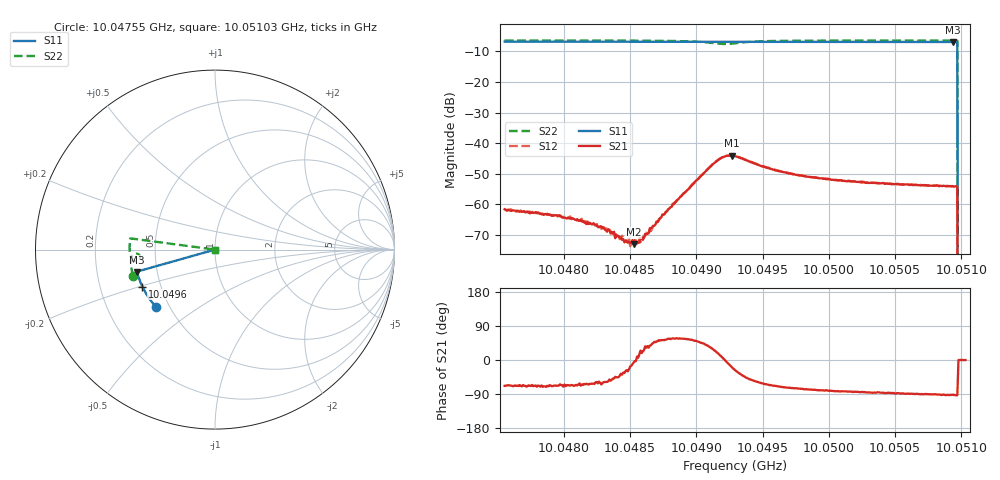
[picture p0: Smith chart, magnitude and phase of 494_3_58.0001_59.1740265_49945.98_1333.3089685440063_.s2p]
#  HZ  S  RI  R  50.00
! Rohde & Schwarz Vector Network Analyzer
! Rohde-Schwarz,ZNB20-2Port,1311601062101988,3.16
! Created: UTC 3/21/2024, 1:12:25 AM
! freq[Hz]  re:S11  im:S11  re:S21  im:S21  re:S12  im:S12  re:S22  im:S22
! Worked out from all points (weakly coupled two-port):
!   401 points, 10.04755 GHz to 10.05103 GHz, reference 50 ohm
!   highest |S21| = -44.08 dB at 10.04927 GHz (marker M1); lowest = -73.1 dB at 10.04853 GHz (marker M2)
!   lowest |S11| = -6.9 dB at 10.05093 GHz (marker M3), VSWR 2.65, Z = 19.2 - j6.03 ohm
!   |S11| at or under -10 dB: 10.05097 GHz to end of sweep
!   |S22| runs from - to -6.4 dB; largest |S21 - S12| = 0.00045
!   S11 on the Smith chart (normalised r, x): 10.04755 GHz: 0.42, -0.34; 10.0496 GHz: 0.39, -0.21; 10.05103 GHz: 1.00, +0.00
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1.0047554e10  -0.3298 -0.3181  0.000306 -0.000769  0.000364 -0.000735  -0.4557 -0.1467
1.0047954e10  -0.347 -0.2978  0.000248 -0.000602  0.000258 -0.000579  -0.4624 -0.1198
1.0048136e10  -0.3544 -0.2884  0.000225 -0.000471  0.000246 -0.000522  -0.4653 -0.1073
1.0048293e10  -0.3605 -0.2802  0.000199 -0.000355  0.000238 -0.000346  -0.467 -0.0958
1.0048466e10  -0.3672 -0.2709  0.000224 -0.000123  0.000237 -0.000108  -0.4685 -0.0825
1.0048518e10  -0.3692 -0.268  0.000256 -4.86e-05  0.000255 -2.24e-06  -0.4689 -0.0785
1.0048527e10  -0.3695 -0.2676  0.00022 -2.52e-05  0.000229 -2.15e-05  -0.4688 -0.0777
1.0048545e10  -0.3702 -0.2666  0.000239 -1.1e-05  0.000256 -7.63e-06  -0.4689 -0.0763
1.0048571e10  -0.3711 -0.2651  0.000227 6.26e-05  0.000263 9.23e-05  -0.469 -0.0741
1.0048614e10  -0.3726 -0.2628  0.000263 0.000192  0.00025 0.000182  -0.4687 -0.0704
1.0048718e10  -0.3763 -0.257  0.000337 0.000438  0.000342 0.000453  -0.4686 -0.0611
1.0049135e10  -0.3902 -0.2334  0.00425 0.00206  0.00413 0.00232  -0.4312 -0.0238
1.0049205e10  -0.3922 -0.2297  0.00592 0.000373  0.00593 0.000736  -0.4174 -0.0382
1.0049266e10  -0.3941 -0.2262  0.00593 -0.00199  0.00606 -0.00156  -0.421 -0.0564
1.0049292e10  -0.3948 -0.2249  0.00545 -0.00273  0.00567 -0.00238  -0.4266 -0.0616
1.0049605e10  -0.4047 -0.2067  0.00129 -0.00333  0.00147 -0.0033  -0.4687 -0.0411
1.0049874e10  -0.412 -0.1907  0.000548 -0.00271  0.000721 -0.00269  -0.4745 -0.0166
1.0050456e10  -0.4258 -0.1549  0.000125 -0.00215  0.000221 -0.00215  -0.4754 0.0273
1.0050934e10  -0.4346 -0.1251  -4.3e-05 -0.00198  3.34e-05 -0.00195  -0.4723 0.0602
1.0050952e10  -0.435 -0.124  -8.35e-05 -0.00196  5.15e-05 -0.00196  -0.4721 0.0614
1.0050995e10  0 0  0 0  0 0  0 0
1.005103e10  0 0  0 0  0 0  0 0
